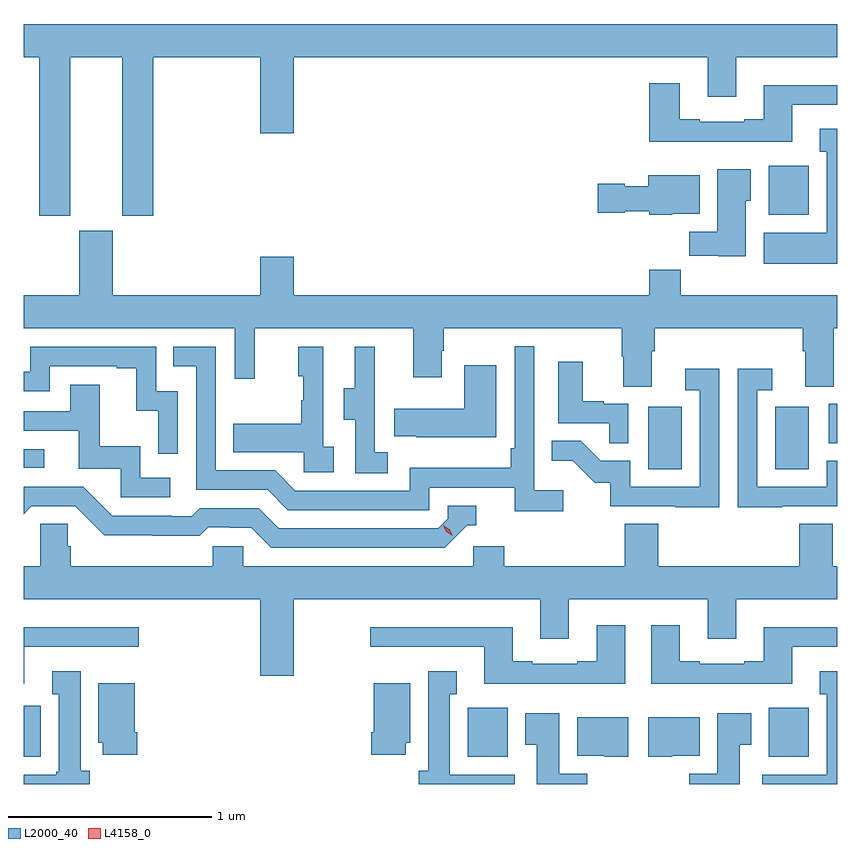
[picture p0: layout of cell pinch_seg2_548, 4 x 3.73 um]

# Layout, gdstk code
import gdstk
lib = gdstk.Library(unit=1e-6, precision=1e-09)
def R(c, l, rs):  # rectangles x0, y0, x1, y1
    for r in rs: c.add(gdstk.rectangle(r[:2], r[2:], *l))
def P(c, l, *ps):  # polygons
    for p in ps: c.add(gdstk.Polygon(p, *l))
L2000_40 = (2000, 40)
L4158_0 = (4158, 0)

pinch_seg2_548 = lib.new_cell('pinch_seg2_548')
R(pinch_seg2_548, L2000_40, [(1086.921,614.894,1087.005,615.145), (1089.104,614.894,1089.301,615.136), (1090.583,614.894,1090.78,615.136), (1089.992,616.308,1090.156,616.615), (1090.616,616.308,1090.78,616.615), (1086.921,616.314,1087.024,616.407), (1090.878,616.435,1090.921,616.629), (1090.583,617.558,1090.78,617.8)])
P(pinch_seg2_548, L2000_40, [(1087.15,618.332),(1087.406,618.332),(1087.406,617.553),(1087.559,617.553),(1087.559,618.332),(1088.084,618.332),(1088.084,617.958),(1088.248,617.958),(1088.248,618.332),(1090.283,618.332),(1090.283,618.138),(1090.423,618.138),(1090.423,618.332),(1090.921,618.332),(1090.921,618.496),(1086.921,618.496),(1086.921,618.332),(1086.998,618.332),(1086.998,617.553),(1087.15,617.553)],
  [(1090.699,618.099),(1090.921,618.099),(1090.921,618.196),(1090.559,618.196),(1090.559,618.028),(1090.463,618.028),(1090.463,618.015),(1090.243,618.015),(1090.243,618.028),(1090.147,618.028),(1090.147,618.205),(1089.995,618.205),(1089.995,617.918),(1090.699,617.918)],
  [(1090.921,617.98),(1090.835,617.98),(1090.835,617.867),(1090.868,617.867),(1090.868,617.47),(1090.559,617.47),(1090.559,617.318),(1090.921,617.318)],
  [(1090.471,617.628),(1090.495,617.628),(1090.495,617.782),(1090.331,617.782),(1090.331,617.476),(1090.192,617.476),(1090.192,617.358),(1090.335,617.358),(1090.335,617.354),(1090.471,617.354)],
  [(1090.11,617.564),(1090.243,617.564),(1090.243,617.752),(1089.992,617.752),(1089.992,617.698),(1089.876,617.698),(1089.876,617.711),(1089.744,617.711),(1089.744,617.569),(1089.876,617.569),(1089.876,617.576),(1089.996,617.576),(1089.996,617.558),(1090.11,617.558)],
  [(1090.009,616.888),(1090.022,616.888),(1090.022,617),(1090.751,617),(1090.751,616.888),(1090.763,616.888),(1090.763,616.714),(1090.903,616.714),(1090.903,617),(1090.921,617),(1090.921,617.164),(1090.151,617.164),(1090.151,617.288),(1089.995,617.288),(1089.995,617.164),(1088.248,617.164),(1088.248,617.353),(1088.084,617.353),(1088.084,617.164),(1087.36,617.164),(1087.36,617.481),(1087.196,617.481),(1087.196,617.164),(1086.921,617.164),(1086.921,617),(1087.959,617),(1087.959,616.752),(1088.057,616.752),(1088.057,617),(1088.837,617),(1088.837,616.761),(1088.977,616.761),(1088.977,616.889),(1088.985,616.889),(1088.985,617),(1089.862,617),(1089.862,616.863),(1089.869,616.863),(1089.869,616.714),(1090.009,616.714)],
  [(1089.574,616.204),(1089.432,616.204),(1089.432,616.912),(1089.336,616.912),(1089.336,616.411),(1089.316,616.411),(1089.316,616.315),(1088.82,616.315),(1088.82,616.203),(1088.256,616.203),(1088.157,616.302),(1087.866,616.302),(1087.866,616.911),(1087.657,616.911),(1087.657,616.815),(1087.77,616.815),(1087.77,616.206),(1088.12,616.206),(1088.219,616.107),(1088.916,616.107),(1088.916,616.218),(1089.335,616.218),(1089.335,616.102),(1089.574,616.102)],
  [(1087.68,616.692),(1087.572,616.692),(1087.572,616.911),(1086.954,616.911),(1086.954,616.788),(1086.921,616.788),(1086.921,616.692),(1087.05,616.692),(1087.05,616.815),(1087.379,616.815),(1087.379,616.803),(1087.475,616.803),(1087.475,616.595),(1087.584,616.595),(1087.584,616.383),(1087.68,616.383)],
  [(1088.71,616.391),(1088.646,616.391),(1088.646,616.695),(1088.648,616.695),(1088.648,616.909),(1088.549,616.909),(1088.549,616.707),(1088.495,616.707),(1088.495,616.552),(1088.55,616.552),(1088.55,616.288),(1088.71,616.288)],
  [(1088.446,616.418),(1088.394,616.418),(1088.394,616.909),(1088.27,616.909),(1088.27,616.764),(1088.296,616.764),(1088.296,616.646),(1088.286,616.646),(1088.286,616.531),(1087.951,616.531),(1087.951,616.391),(1088.298,616.391),(1088.298,616.293),(1088.446,616.293)],
  [(1089.894,616.629),(1089.773,616.629),(1089.773,616.642),(1089.67,616.642),(1089.67,616.837),(1089.548,616.837),(1089.548,616.533),(1089.799,616.533),(1089.799,616.435),(1089.894,616.435)],
  [(1089.244,616.819),(1089.086,616.819),(1089.086,616.606),(1088.743,616.606),(1088.743,616.469),(1088.851,616.469),(1088.851,616.466),(1089.244,616.466)],
  [(1090.341,616.801),(1090.173,616.801),(1090.173,616.695),(1090.245,616.695),(1090.245,616.221),(1089.903,616.221),(1089.903,616.35),(1089.758,616.35),(1089.66,616.448),(1089.517,616.448),(1089.517,616.349),(1089.621,616.349),(1089.728,616.242),(1089.805,616.242),(1089.805,616.125),(1090.123,616.125),(1090.123,616.12),(1090.341,616.12)],
  [(1090.649,616.125),(1090.921,616.125),(1090.921,616.35),(1090.869,616.35),(1090.869,616.221),(1090.527,616.221),(1090.527,616.695),(1090.6,616.695),(1090.6,616.801),(1090.431,616.801),(1090.431,616.12),(1090.649,616.12)],
  [(1087.642,616.266),(1087.494,616.266),(1087.494,616.42),(1087.295,616.42),(1087.295,616.723),(1087.151,616.723),(1087.151,616.593),(1086.921,616.593),(1086.921,616.497),(1087.193,616.497),(1087.193,616.311),(1087.398,616.311),(1087.398,616.17),(1087.642,616.17)],
  [(1089.102,616.032),(1089.145,616.032),(1089.145,616.128),(1089.006,616.128),(1089.006,616.065),(1088.958,616.017),(1088.175,616.017),(1088.076,616.116),(1087.787,616.116),(1087.748,616.077),(1087.649,616.077),(1087.649,616.08),(1087.356,616.08),(1087.215,616.221),(1086.921,616.221),(1086.921,616.086),(1086.96,616.125),(1087.176,616.125),(1087.318,615.983),(1087.554,615.983),(1087.554,615.981),(1087.787,615.981),(1087.829,616.023),(1087.932,616.023),(1087.932,616.02),(1088.039,616.02),(1088.138,615.921),(1088.991,615.921)],
  [(1088.248,615.668),(1089.461,615.668),(1089.461,615.474),(1089.601,615.474),(1089.601,615.668),(1090.283,615.668),(1090.283,615.474),(1090.423,615.474),(1090.423,615.668),(1090.921,615.668),(1090.921,615.832),(1090.898,615.832),(1090.898,616.04),(1090.733,616.04),(1090.733,615.832),(1090.04,615.832),(1090.04,616.04),(1089.875,616.04),(1089.875,615.832),(1089.284,615.832),(1089.284,615.93),(1089.132,615.93),(1089.132,615.832),(1088.001,615.832),(1088.001,615.93),(1087.851,615.93),(1087.851,615.832),(1087.154,615.832),(1087.154,615.93),(1087.139,615.93),(1087.139,616.04),(1087.002,616.04),(1087.002,615.832),(1086.921,615.832),(1086.921,615.668),(1088.084,615.668),(1088.084,615.294),(1088.248,615.294)],
  [(1090.699,615.435),(1090.921,615.435),(1090.921,615.532),(1090.559,615.532),(1090.559,615.364),(1090.463,615.364),(1090.463,615.351),(1090.243,615.351),(1090.243,615.364),(1090.147,615.364),(1090.147,615.541),(1090.007,615.541),(1090.007,615.254),(1090.699,615.254)],
  [(1089.877,615.541),(1089.737,615.541),(1089.737,615.364),(1089.641,615.364),(1089.641,615.351),(1089.421,615.351),(1089.421,615.364),(1089.325,615.364),(1089.325,615.532),(1088.625,615.532),(1088.625,615.435),(1089.185,615.435),(1089.185,615.254),(1089.877,615.254)],
  [(1086.925,615.435),(1087.486,615.435),(1087.486,615.532),(1086.921,615.532),(1086.921,615.254),(1086.925,615.254)],
  [(1090.921,615.316),(1090.835,615.316),(1090.835,615.203),(1090.868,615.203),(1090.868,614.806),(1090.551,614.806),(1090.551,614.761),(1090.921,614.761)],
  [(1089.334,614.806),(1089.016,614.806),(1089.016,615.203),(1089.049,615.203),(1089.049,615.316),(1088.909,615.316),(1088.909,614.826),(1088.864,614.826),(1088.864,614.761),(1089.334,614.761)],
  [(1087.246,614.826),(1087.201,614.826),(1087.201,615.316),(1087.061,615.316),(1087.061,615.203),(1087.094,615.203),(1087.094,614.82),(1087.081,614.82),(1087.081,614.806),(1086.921,614.806),(1086.921,614.761),(1087.246,614.761)],
  [(1088.8,614.964),(1088.821,614.964),(1088.821,615.256),(1088.642,615.256),(1088.642,615.016),(1088.63,615.016),(1088.63,614.904),(1088.8,614.904)],
  [(1087.481,615.016),(1087.468,615.016),(1087.468,615.256),(1087.289,615.256),(1087.289,614.964),(1087.31,614.964),(1087.31,614.904),(1087.481,614.904)],
  [(1090.441,614.953),(1090.498,614.953),(1090.498,615.109),(1090.331,615.109),(1090.331,614.812),(1090.192,614.812),(1090.192,614.761),(1090.441,614.761)],
  [(1089.692,614.812),(1089.553,614.812),(1089.553,615.109),(1089.386,615.109),(1089.386,614.953),(1089.443,614.953),(1089.443,614.761),(1089.692,614.761)],
  [(1089.892,615.088),(1089.641,615.088),(1089.641,614.9),(1089.774,614.9),(1089.774,614.894),(1089.892,614.894)],
  [(1090.11,614.9),(1090.243,614.9),(1090.243,615.088),(1089.992,615.088),(1089.992,614.894),(1090.11,614.894)])
P(pinch_seg2_548, L4158_0, [(1089.03,615.98),(1088.999,616),(1088.983,616.032),(1088.983,616.032),(1088.983,616.032),(1089.014,616.013),(1089.031,615.98),(1089.031,615.98)])

lib.write_gds('pinch_seg2_548.gds')
